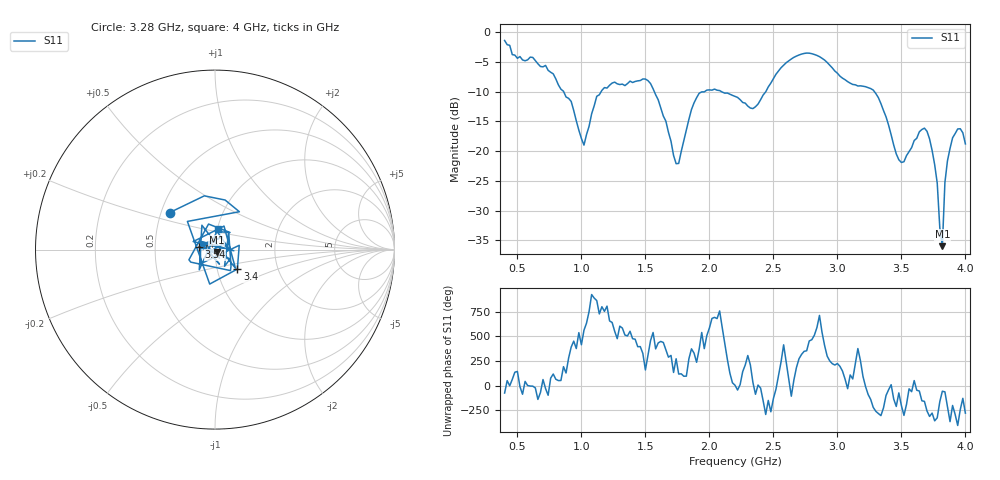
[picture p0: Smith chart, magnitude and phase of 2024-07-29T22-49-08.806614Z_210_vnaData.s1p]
!Created with skrf (http://scikit-rf.org).
# Hz S RI R 50.0
!freq ReS11 ImS11
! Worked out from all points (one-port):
!   181 points, 400 MHz to 4 GHz, reference 50 ohm
!   lowest |S11| = -36.0 dB at 3.82 GHz (marker M1), VSWR 1.03, Z = 50.9 - j1.34 ohm
!   |S11| at or under -10 dB: 1.57 GHz to 1.962 GHz (392.5 MHz wide, 22.2 % of centre); 2.095 GHz to 2.441 GHz (345.7 MHz wide, 15.2 % of centre); 3.289 GHz to end of sweep (the widest 3 of 4)
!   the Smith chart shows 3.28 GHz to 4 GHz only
!   S11 on the Smith chart (normalised r, x): 3.28 GHz: 0.55, +0.26; 3.4 GHz: 1.25, -0.28; 3.54 GHz: 0.83, +0.02; 4 GHz: 1.01, +0.23
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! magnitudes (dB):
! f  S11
! 400 MHz  -1.4
! 720 MHz  -5.6
! 860 MHz  -9.9
! 920 MHz  -11.6
! 1.02 GHz  -19.0
! 1.12 GHz  -10.8
! 1.3 GHz  -8.8
! 1.54 GHz  -8.6
! 1.76 GHz  -22.1
! 1.92 GHz  -10.3
! 2.2 GHz  -10.8
! 2.34 GHz  -12.8
! 2.66 GHz  -4.2
! 2.84 GHz  -3.9
! 3.1 GHz  -8.6
! 3.28 GHz  -9.7
! 3.4 GHz  -15.6
! 3.48 GHz  -21.5
! 3.54 GHz  -20.8
! 3.56 GHz  -20.1
! 3.7 GHz  -16.7
! 3.78 GHz  -25.4
! 3.8 GHz  -32.9
! 3.82 GHz  -36.0
! 3.84 GHz  -25.3
! 3.88 GHz  -19.5
! 3.94 GHz  -16.3
! 4 GHz  -18.8
